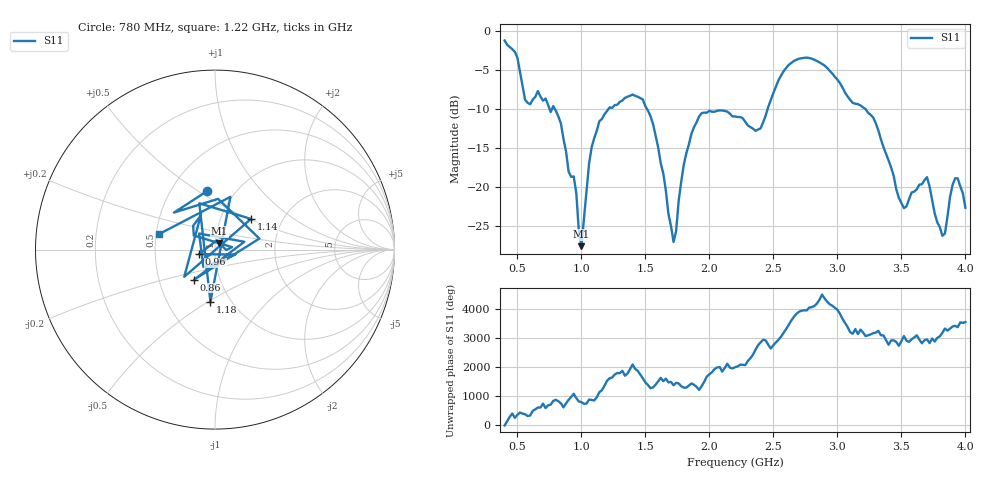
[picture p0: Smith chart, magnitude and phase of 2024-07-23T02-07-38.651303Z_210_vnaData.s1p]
!Created with skrf (http://scikit-rf.org).
# Hz S RI R 50.0
!freq ReS11 ImS11
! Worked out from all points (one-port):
!   181 points, 400 MHz to 4 GHz, reference 50 ohm
!   lowest |S11| = -27.5 dB at 1 GHz (marker M1), VSWR 1.09, Z = 52.4 + j3.6 ohm
!   |S11| at or under -10 dB: 792.2 MHz to 1.212 GHz (419.7 MHz wide, 41.9 % of centre); 1.512 GHz to 2.455 GHz (943.7 MHz wide, 47.6 % of centre); 3.217 GHz to end of sweep (the widest 3 of 4)
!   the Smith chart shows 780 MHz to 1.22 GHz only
!   S11 on the Smith chart (normalised r, x): 780 MHz: 0.75, +0.55; 860 MHz: 0.75, -0.26; 960 MHz: 0.84, -0.04; 1.14 GHz: 1.39, +0.51; 1.18 GHz: 0.81, -0.51; 1.22 GHz: 0.52, +0.10
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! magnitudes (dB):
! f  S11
! 400 MHz  -1.3
! 500 MHz  -3.5
! 560 MHz  -8.8
! 780 MHz  -9.6
! 860 MHz  -13.8
! 960 MHz  -20.7
! 1 GHz  -27.5
! 1.06 GHz  -17.0
! 1.14 GHz  -11.6
! 1.18 GHz  -10.7
! 1.22 GHz  -9.8
! 1.3 GHz  -9.1
! 1.54 GHz  -10.9
! 1.72 GHz  -27.0
! 1.76 GHz  -21.7
! 1.92 GHz  -10.9
! 2.2 GHz  -11.0
! 2.4 GHz  -12.5
! 2.66 GHz  -3.9
! 2.9 GHz  -4.5
! 3.1 GHz  -8.9
! 3.28 GHz  -11.1
! 3.48 GHz  -21.4
! 3.56 GHz  -21.5
! 3.7 GHz  -18.7
! 3.82 GHz  -26.2
! 3.92 GHz  -18.9
! 4 GHz  -22.6
